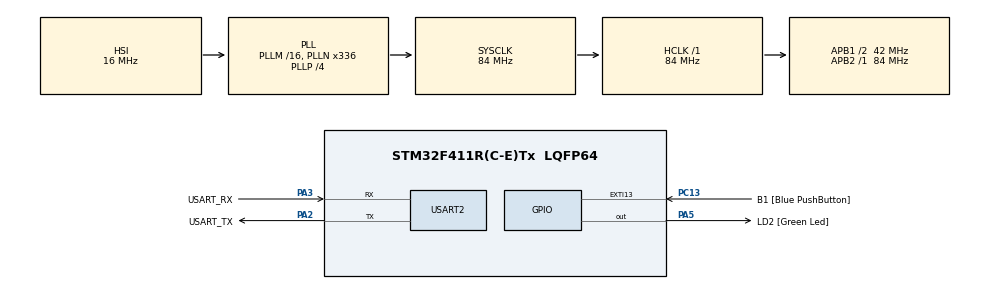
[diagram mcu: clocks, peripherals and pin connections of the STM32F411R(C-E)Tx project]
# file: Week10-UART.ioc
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Dma.Request0=USART2_TX
Dma.USART2_TX.0.Direction=DMA_MEMORY_TO_PERIPH
Dma.USART2_TX.0.FIFOMode=DMA_FIFOMODE_DISABLE
Dma.USART2_TX.0.Instance=DMA1_Stream6
Dma.USART2_TX.0.MemDataAlignment=DMA_MDATAALIGN_BYTE
Dma.USART2_TX.0.MemInc=DMA_MINC_ENABLE
Dma.USART2_TX.0.Mode=DMA_NORMAL
Dma.USART2_TX.0.PeriphDataAlignment=DMA_PDATAALIGN_BYTE
Dma.USART2_TX.0.PeriphInc=DMA_PINC_DISABLE
Dma.USART2_TX.0.Priority=DMA_PRIORITY_LOW
Mcu.Family=STM32F4
Mcu.Name=STM32F411R(C-E)Tx
Mcu.Package=LQFP64
NVIC.DMA1_Stream6_IRQn=true\:0\:0\:false\:false\:true\:false\:true
NVIC.PriorityGroup=NVIC_PRIORITYGROUP_0
NVIC.USART2_IRQn=true\:0\:0\:false\:false\:true\:true\:true
PA13.GPIO_Label=TMS
PA13.Mode=Serial_Wire
PA13.Signal=SYS_JTMS-SWDIO
PA14.GPIO_Label=TCK
PA14.Mode=Serial_Wire
PA14.Signal=SYS_JTCK-SWCLK
PA2.GPIO_Label=USART_TX
PA2.Mode=Asynchronous
PA2.Signal=USART2_TX
PA3.GPIO_Label=USART_RX
PA3.Mode=Asynchronous
PA3.Signal=USART2_RX
PA5.GPIO_Label=LD2 [Green Led]
PA5.Signal=GPIO_Output
PB3.GPIO_Label=SWO
PB3.Signal=SYS_JTDO-SWO
PC13-ANTI_TAMP.GPIO_Label=B1 [Blue PushButton]
PC13-ANTI_TAMP.GPIO_ModeDefaultEXTI=GPIO_MODE_IT_FALLING
PC13-ANTI_TAMP.Signal=GPXTI13
PC14-OSC32_IN.Mode=LSE-External-Oscillator
PC14-OSC32_IN.Signal=RCC_OSC32_IN
PC15-OSC32_OUT.Mode=LSE-External-Oscillator
PC15-OSC32_OUT.Signal=RCC_OSC32_OUT
PH0\ -\ OSC_IN.Mode=HSE-External-Clock-Source
PH0\ -\ OSC_IN.Signal=RCC_OSC_IN
PH1\ -\ OSC_OUT.Mode=HSE-External-Clock-Source
PH1\ -\ OSC_OUT.Signal=RCC_OSC_OUT
ProjectManager.HeapSize=0x200
ProjectManager.StackSize=0x400
ProjectManager.TargetToolchain=STM32CubeIDE
RCC.48MHZClocksFreq_Value=84000000
RCC.AHBFreq_Value=84000000
RCC.APB1CLKDivider=RCC_HCLK_DIV2
RCC.APB1Freq_Value=42000000
RCC.APB1TimFreq_Value=84000000
RCC.APB2Freq_Value=84000000
RCC.APB2TimFreq_Value=84000000
RCC.CortexFreq_Value=84000000
RCC.FLatency-AdvancedSettings=FLASH_LATENCY_2
RCC.HCLKFreq_Value=84000000
RCC.HSE_VALUE=8000000
RCC.HSI_VALUE=16000000
RCC.PLLN=336
RCC.PLLP=RCC_PLLP_DIV4
RCC.SYSCLKFreq_VALUE=84000000
RCC.SYSCLKSource=RCC_SYSCLKSOURCE_PLLCLK
RCC.VCOOutputFreq_Value=336000000
USART2.VirtualMode=VM_ASYNC
board=NUCLEO-F411RE

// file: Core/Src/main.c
/* USER CODE BEGIN Header */
/**
 ******************************************************************************
 * @file           : main.c
 * @brief          : Main program body
 ******************************************************************************
 * @attention
 *
 * <h2><center>&copy; Copyright (c) 2021 STMicroelectronics.
 * All rights reserved.</center></h2>
 *
 * This software component is licensed by ST under BSD 3-Clause license,
 * the "License"; You may not use this file except in compliance with the
 * License. You may obtain a copy of the License at:
 *                        opensource.org/licenses/BSD-3-Clause
 *
 ******************************************************************************
 */
/* USER CODE END Header */
#include "main.h"

/* USER CODE BEGIN Includes */
#include <stdio.h>
#include <string.h>
/* USER CODE END Includes */

UART_HandleTypeDef huart2;
DMA_HandleTypeDef hdma_usart2_tx;

/* USER CODE BEGIN PV */
char TxDataBuffer[32] = { 0 };
char RxDataBuffer[32] = { 0 };
enum {
	home, control, status
} STATE = home;
uint16_t f_value = 500;
uint8_t flag = 1;
/* USER CODE END PV */

void SystemClock_Config(void);
static void MX_DMA_Init(void);
static void MX_GPIO_Init(void);
static void MX_USART2_UART_Init(void);
/* USER CODE BEGIN PFP */
void UARTRecieveAndResponsePolling();
int16_t UARTRecieveIT();
uint8_t risingDetect();
uint8_t fallingDetect();
/* USER CODE END PFP */

int main(void)
{

  /* MCU Configuration--------------------------------------------------------*/

  /* Reset of all peripherals, Initializes the Flash interface and the Systick. */
  HAL_Init();

  /* Configure the system clock */
  SystemClock_Config();

  /* Initialize all configured peripherals */
  MX_DMA_Init();
  MX_GPIO_Init();
  MX_USART2_UART_Init();
  /* USER CODE BEGIN 2 */
	/*char temp[]="HELLO WORLD\r\n please type something to test UART\r\n";
	 HAL_UART_Transmit(&huart2, (uint8_t*)temp, strlen(temp),10);*/
	char home_menu[] =
			"\r\nWelcome To Experiment8!!\r\n\t0.LED Control\r\n\t1.Button status";
	HAL_UART_Transmit_DMA(&huart2, (uint8_t*) home_menu, strlen(home_menu));
  /* USER CODE END 2 */

  /* Infinite loop */
  /* USER CODE BEGIN WHILE */
	while (1) {
		static uint64_t timeStamp = 0;
		HAL_UART_Receive_IT(&huart2, (uint8_t*) RxDataBuffer, 32);
		int16_t inputchar = UARTRecieveIT();
		switch (STATE) {
		case home:
			if (inputchar != -1) {
				if (inputchar == '0') {
					char menu_select[] =
							"\r\n0 press\r\na:Speed up 1 Hz\r\ns:Slow down 1 Hz\r\nd:On\\Off\r\nx:Back";
					HAL_UART_Transmit(&huart2, (uint8_t*) menu_select,
							strlen(menu_select), 10);
					STATE = control;
				} else if (inputchar == '1') {
					char menu_select[] = "\r\n1 press\r\nx:Back";
					HAL_UART_Transmit(&huart2, (uint8_t*) menu_select,
							strlen(menu_select), 10);
					STATE = status;
				}
			}
			break;
		case control:
			if (inputchar != -1) {
				if(inputchar == 'a'){
					f_value /= 2;
					if(f_value<=1){
						f_value = 1;
					}
				}
				else if(inputchar == 's'){
					f_value *= 2;
				}
				else if(inputchar == 'd'){
					flag = !flag;
				}
				else if (inputchar == 'x') {
					char home_menu[] =
							"\r\nWelcome To Experiment8!!\r\n\t0.LED Control\r\n\t1.Button status";
					HAL_UART_Transmit(&huart2, (uint8_t*) home_menu,
							strlen(home_menu), 10);
					STATE = home;
				}
			}
			break;
		case status:
			if (fallingDetect()) {
				char text[] = "\r\nButton Status:Press";
				HAL_UART_Transmit(&huart2, (uint8_t*) text, strlen(text), 10);
			}
			if (risingDetect()) {
				char text[] = "\r\nButton Status:Unpress";
				HAL_UART_Transmit(&huart2, (uint8_t*) text, strlen(text), 10);
			}
			if (inputchar != -1) {
				if (inputchar == 'x') {
					char home_menu[] =
							"\r\nWelcome To Experiment8!!\r\n\t0.LED Control\r\n\t1.Button status";
					HAL_UART_Transmit(&huart2, (uint8_t*) home_menu,
							strlen(home_menu), 10);
					STATE = home;
				}
			}
			break;
		}
		/*if (inputchar != -1) {
		 sprintf(TxDataBuffer, "ReceivedChar:[%c]\r\n", inputchar);
		 HAL_UART_Transmit(&huart2, (uint8_t*) TxDataBuffer,
		 strlen(TxDataBuffer), 1000);
		 }*/
		/*Method 1 Polling Mode*/

//		UARTRecieveAndResponsePolling();
		/*Method 2 Interrupt Mode*/
		//HAL_UART_Receive_IT(&huart2,  (uint8_t*)RxDataBuffer, 32);
		/*Method 2 W/ 1 Char Received*/
		/*int16_t inputchar = UARTRecieveIT();
		 if(inputchar!=-1)
		 {
		 sprintf(TxDataBuffer, "ReceivedChar:[%c]\r\n", inputchar);
		 HAL_UART_Transmit(&huart2, (uint8_t*)TxDataBuffer, strlen(TxDataBuffer), 1000);
		 }*/

		/*This section just simmulate Work Load*/
		if(flag==1){
			if(HAL_GetTick()-timeStamp>f_value){
						timeStamp = HAL_GetTick();
						HAL_GPIO_TogglePin(LD2_GPIO_Port, LD2_Pin);
					}
		}
		else{
			HAL_GPIO_WritePin(GPIOC, GPIO_PIN_13, GPIO_PIN_SET);
		}
    /* USER CODE END WHILE */

	}
}

void SystemClock_Config(void)
{
  RCC_OscInitTypeDef RCC_OscInitStruct = {0};
  RCC_ClkInitTypeDef RCC_ClkInitStruct = {0};

  /** Configure the main internal regulator output voltage
  */
  __HAL_RCC_PWR_CLK_ENABLE();
  __HAL_PWR_VOLTAGESCALING_CONFIG(PWR_REGULATOR_VOLTAGE_SCALE1);
  /** Initializes the RCC Oscillators according to the specified parameters
  * in the RCC_OscInitTypeDef structure.
  */
  RCC_OscInitStruct.OscillatorType = RCC_OSCILLATORTYPE_HSI;
  RCC_OscInitStruct.HSIState = RCC_HSI_ON;
  RCC_OscInitStruct.HSICalibrationValue = RCC_HSICALIBRATION_DEFAULT;
  RCC_OscInitStruct.PLL.PLLState = RCC_PLL_ON;
  RCC_OscInitStruct.PLL.PLLSource = RCC_PLLSOURCE_HSI;
  RCC_OscInitStruct.PLL.PLLM = 16;
  RCC_OscInitStruct.PLL.PLLN = 336;
  RCC_OscInitStruct.PLL.PLLP = RCC_PLLP_DIV4;
  RCC_OscInitStruct.PLL.PLLQ = 4;
  if (HAL_RCC_OscConfig(&RCC_OscInitStruct) != HAL_OK)
  {
    Error_Handler();
  }
  /** Initializes the CPU, AHB and APB buses clocks
  */
  RCC_ClkInitStruct.ClockType = RCC_CLOCKTYPE_HCLK|RCC_CLOCKTYPE_SYSCLK
                              |RCC_CLOCKTYPE_PCLK1|RCC_CLOCKTYPE_PCLK2;
  RCC_ClkInitStruct.SYSCLKSource = RCC_SYSCLKSOURCE_PLLCLK;
  RCC_ClkInitStruct.AHBCLKDivider = RCC_SYSCLK_DIV1;
  RCC_ClkInitStruct.APB1CLKDivider = RCC_HCLK_DIV2;
  RCC_ClkInitStruct.APB2CLKDivider = RCC_HCLK_DIV1;

  if (HAL_RCC_ClockConfig(&RCC_ClkInitStruct, FLASH_LATENCY_2) != HAL_OK)
  {
    Error_Handler();
  }
}

static void MX_USART2_UART_Init(void)
{

  huart2.Instance = USART2;
  huart2.Init.BaudRate = 115200;
  huart2.Init.WordLength = UART_WORDLENGTH_8B;
  huart2.Init.StopBits = UART_STOPBITS_1;
  huart2.Init.Parity = UART_PARITY_NONE;
  huart2.Init.Mode = UART_MODE_TX_RX;
  huart2.Init.HwFlowCtl = UART_HWCONTROL_NONE;
  huart2.Init.OverSampling = UART_OVERSAMPLING_16;
  if (HAL_UART_Init(&huart2) != HAL_OK)
  {
    Error_Handler();
  }

}

static void MX_DMA_Init(void)
{

  /* DMA controller clock enable */
  __HAL_RCC_DMA1_CLK_ENABLE();

  /* DMA interrupt init */
  /* DMA1_Stream6_IRQn interrupt configuration */
  HAL_NVIC_SetPriority(DMA1_Stream6_IRQn, 0, 0);
  HAL_NVIC_EnableIRQ(DMA1_Stream6_IRQn);

}

static void MX_GPIO_Init(void)
{
  GPIO_InitTypeDef GPIO_InitStruct = {0};

  /* GPIO Ports Clock Enable */
  __HAL_RCC_GPIOC_CLK_ENABLE();
  __HAL_RCC_GPIOH_CLK_ENABLE();
  __HAL_RCC_GPIOA_CLK_ENABLE();
  __HAL_RCC_GPIOB_CLK_ENABLE();

  /*Configure GPIO pin Output Level */
  HAL_GPIO_WritePin(LD2_GPIO_Port, LD2_Pin, GPIO_PIN_RESET);

  /*Configure GPIO pin : B1_Pin */
  GPIO_InitStruct.Pin = B1_Pin;
  GPIO_InitStruct.Mode = GPIO_MODE_IT_FALLING;
  GPIO_InitStruct.Pull = GPIO_NOPULL;
  HAL_GPIO_Init(B1_GPIO_Port, &GPIO_InitStruct);

  /*Configure GPIO pin : LD2_Pin */
  GPIO_InitStruct.Pin = LD2_Pin;
  GPIO_InitStruct.Mode = GPIO_MODE_OUTPUT_PP;
  GPIO_InitStruct.Pull = GPIO_NOPULL;
  GPIO_InitStruct.Speed = GPIO_SPEED_FREQ_LOW;
  HAL_GPIO_Init(LD2_GPIO_Port, &GPIO_InitStruct);

}

/* USER CODE BEGIN 4 */
void UARTRecieveAndResponsePolling() {
	char Recieve[32] = { 0 };

	HAL_UART_Receive(&huart2, (uint8_t*) Recieve, 32, 1000);

	sprintf(TxDataBuffer, "Received:[%s]\r\n", Recieve);
	HAL_UART_Transmit(&huart2, (uint8_t*) TxDataBuffer, strlen(TxDataBuffer),
			1000);

}

int16_t UARTRecieveIT() {
	static uint32_t dataPos = 0;
	int16_t data = -1;
	if (huart2.RxXferSize - huart2.RxXferCount != dataPos) {
		data = RxDataBuffer[dataPos];
		dataPos = (dataPos + 1) % huart2.RxXferSize;
	}
	return data;
}

void HAL_UART_RxCpltCallback(UART_HandleTypeDef *huart) {
	/*sprintf(TxDataBuffer, "Received:[%s]\r\n", RxDataBuffer);
	 HAL_UART_Transmit(&huart2, (uint8_t*)TxDataBuffer, strlen(TxDataBuffer), 1000);*/
}

uint8_t fallingDetect() {
	static uint8_t buttonStatus = 0;
	if (HAL_GPIO_ReadPin(GPIOC, GPIO_PIN_13) == GPIO_PIN_RESET) {
		if (buttonStatus == 0) {
			buttonStatus = 1;
			return 1;
		}
		return 0;
	} else {
		buttonStatus = 0;
	}
	return 0;
}

uint8_t risingDetect() {
	static uint8_t buttonStatus = 0;
	if (HAL_GPIO_ReadPin(GPIOC, GPIO_PIN_13) == GPIO_PIN_SET) {
		if (buttonStatus == 0) {
			buttonStatus = 1;
			return 1;
		}
		return 0;
	} else {
		buttonStatus = 0;
	}
	return 0;
}
/* USER CODE END 4 */

void Error_Handler(void)
{
	__disable_irq();
	while (1) {
	}
}
